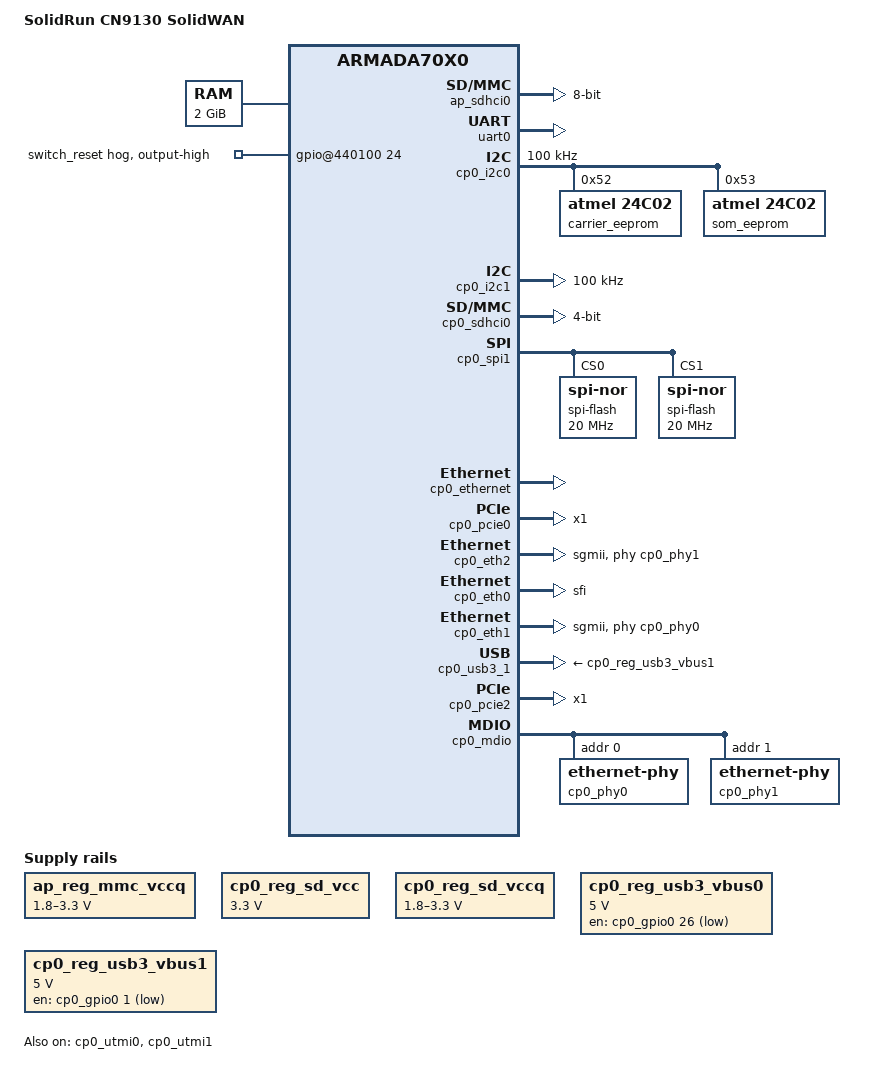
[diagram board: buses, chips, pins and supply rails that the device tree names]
/*
 * Copyright (C) 2020 SolidRun ltd.
 *
 * SPDX-License-Identifier:    GPL-2.0
 * https://spdx.org/licenses
 */

/* cn9130-cex7-A.dts */
#include "cn9130-som.dtsi"

/ {
	model = "SolidRun CN9130 SolidWAN";
	compatible = "marvell,cn9130-db", "marvell,cn91xx", "marvell,cn9030-vd",
				 "marvell,cn9030", "marvell,armada-ap806-quad",
				 "marvell,armada-ap806", "marvell,armada70x0";

	chosen {
		stdout-path = "serial0:115200n8";
	};

	aliases {
		i2c0 = &cp0_i2c0;
		i2c1 = &cp0_i2c1;
		spi0 = &cp0_spi1;
		gpio0 = &ap_gpio0;
		gpio1 = &cp0_gpio0;
		gpio2 = &cp0_gpio1;
	};

	memory@00000000 {
		device_type = "memory";
		reg = <0x0 0x0 0x0 0x80000000>;
	};

	cp0 {
		config-space {
			sdhci@780000 {
				vqmmc-supply = <&cp0_reg_sd_vccq>;
				vmmc-supply = <&cp0_reg_sd_vcc>;
			};

			ap_reg_mmc_vccq: ap_mmc_vccq@0 {
				compatible = "regulator-gpio";
				regulator-name = "ap_mmc_vccq";
				regulator-min-microvolt = <1800000>;
				regulator-max-microvolt = <3300000>;
				gpios = <&cp0_gpio0 26 GPIO_ACTIVE_HIGH>;
				states = <1800000 0x1
						  3300000 0x0>;
			};

			cp0_reg_sd_vcc: cp0_sd_vcc@0 {
				compatible = "regulator-fixed";
				regulator-name = "cp_sd_vcc";
				regulator-min-microvolt = <3300000>;
				regulator-max-microvolt = <3300000>;
				regulator-always-on;
				status = "okay";
			};
			cp0_reg_sd_vccq: cp0_sd_vccq@0 {
				compatible = "regulator-gpio";
				regulator-name = "cp0_sd_vccq";
				regulator-min-microvolt = <1800000>;
				regulator-max-microvolt = <3300000>;
				gpios = <&cp0_gpio1 26 GPIO_ACTIVE_HIGH>;
				enable-active-high;
				states = <1800000 0x1
							3300000 0x0>;
			};

			cp0_reg_usb3_vbus0: cp0_usb3_vbus@0 {
				compatible = "regulator-fixed";
				regulator-name = "cp0-xhci0-vbus";
				regulator-min-microvolt = <5000000>;
				regulator-max-microvolt = <5000000>;
				startup-delay-us = <100000>;
				regulator-force-boot-off;
				gpio = <&cp0_gpio0 26 GPIO_ACTIVE_HIGH>;
			};

			cp0_reg_usb3_vbus1: cp0_usb3_vbus@1 {
				compatible = "regulator-fixed";
				regulator-name = "cp0-xhci1-vbus";
				regulator-min-microvolt = <5000000>;
				regulator-max-microvolt = <5000000>;
				startup-delay-us = <100000>;
				regulator-force-boot-off;
				gpio = <&cp0_gpio0 1 GPIO_ACTIVE_HIGH>;
			};
		};
		gpio@440100 {
			p24 {
				gpio-hog;
				gpios = <24 GPIO_ACTIVE_HIGH>;
				output-high;
				line-name = "switch_reset";
			};
		};
	};
};


/***** AP related configuration *****/
&ap_pinctl {
	/* MPP Bus:
	 * SDIO  [0-10, 12]
	 * UART0 [11,19]
	 */
	/*			 0 1 2 3 4 5 6 7 8 9 */
	pin-func = < 1 1 1 1 1 1 1 1 1 1
				 1 3 1 0 0 0 0 0 0 3 >;
};


/* on-board eMMC */
&ap_sdhci0 {
	pinctrl-names = "default";
	pinctrl-0 = <&ap_emmc_pins>; /*defined in armada-ap80x.dtsi */
	vqmmc-supply = <&ap_reg_mmc_vccq>;
	bus-width = <8>;
	status = "okay";
};

&uart0 {
	status = "okay";
};
/*
&cp0_uart1 {
	status = "okay";
	pinctrl-names = "default";
	pinctrl-0 = <&cp0_uart1_pins>;
	u-boot,dm-pre-reloc;
};
*/

/****** CP related configuration  ******/

&cp0_pinctl {
	/* MPP Bus:
	*	[0-1] 	SMI MDC/MDIO
	*	[2-3]	UART1 TX/RX
	*	[4-5]	UART1 RTS/CTS
	*	[6-8]	PTP
	*	[10-11] GPIO - SPD Strap
	*	[12-16]	SPI1
	*	[17-26]	GPIO - Boot straps
	*	[27-34]	GPIO
	*	[35-36]	I2C1
	*	[37-38]	I2C1
	*	[39] 	GPIO
	*	[40] 	RCVR CLK
	*	[41]	GPIO VHV_EN
	*	[43]	SD CARD DT
	*	[44-55]	RGMII --> GPIOs
	*	[56-61]	SDIO
	*/
		   /*   0   1   2   3   4   5   6   7   8   9 */
	pin-func = <	10  10  8   8   6   6   0   0   0   0
			0   0   3   3   3   3   3   0   0   0
			0   0   0   0   0   0   0   0   0   0
			0   0   0   0   0   2   2   2   2   0
			0   0   0   0   0   0   0   0   0   0
			0   0   0   0   0   0  0xe 0xe 0xe 0xe
			0xe 0xe 0 >;
};

&cp0_i2c0 {
	pinctrl-names = "default";
	pinctrl-0 = <&cp0_i2c0_pins>;
	status = "okay";
	clock-frequency = <100000>;

	carrier_eeprom@52 {
		compatible = "atmel,24c02";
		reg = <0x52>;
		pagesize = <0x08>;
	};

	/* M24C02-WMN6TP */
	som_eeprom@53 {
		compatible = "atmel,24c02";
		reg = <0x53>;
		pagesize = <0x16>;
	};
};

&cp0_i2c1 {
	/* connected to SFP0*/
	status = "okay";
	pinctrl-names = "default";
	pinctrl-0 = <&cp0_i2c1_pins>;
	clock-frequency = <100000>;
};

/* SD CARD */
&cp0_sdhci0 {
	pinctrl-names = "default";
	pinctrl-0 = <&cp0_sdhci_pins>, <&cp0_sdhci_cd_pins>;
	bus-width = <4>;
	status = "okay";
	no-1-8-v;
};

/* SPI NOR  */
&cp0_spi1 {
	pinctrl-names = "default";
	pinctrl-0 = <&cp0_spi1_pins>, <&cp0_spi1_cs1_pins>;
	reg = <0x700680 0x50>,	/* control */
		  <0x2000000 0x1000000>,	/* CS0 */
		  <0x2000000 0x1000004>,	/* CS1 */
		  <0 0xffffffff>,			/* CS2 */
		  <0 0xffffffff>;			/* CS3 */
	status = "okay";

	spi-flash@0 {
		#address-cells = <0x1>;
		#size-cells = <0x1>;
		compatible = "jedec,spi-nor", "spi-flash";
		reg = <0x0>;
		/* On-board MUX does not allow higher frequencies */
		spi-max-frequency = <20000000>;
	};
	spi-flash@1 {
		#address-cells = <0x1>;
		#size-cells = <0x1>;
		compatible = "jedec,spi-nor";
		reg = <0x1>;
		/* On carrier MUX does not allow higher frequencies */
		spi-max-frequency = <20000000>;
	};

};

&cp0_comphy {
	phy0 {
		phy-type = <COMPHY_TYPE_PEX0>;
	};

	phy1 {
		phy-type = <COMPHY_TYPE_SGMII2>;
                phy-speed = <COMPHY_SPEED_1_25G>;
	};

	phy2 {
		phy-type = <COMPHY_TYPE_SFI0>;
		phy-speed = <COMPHY_SPEED_10_3125G>;
	};

	phy3 {
		phy-type = <COMPHY_TYPE_SGMII1>;
                phy-speed = <COMPHY_SPEED_1_25G>;
	};

	phy4 {
		phy-type = <COMPHY_TYPE_USB3_HOST1>;
	};

	phy5 {
		phy-type = <COMPHY_TYPE_PEX2>;
	};
};

&cp0_ethernet {
	status = "okay";
};

/* SRDS #0 - PCIe X1 Gen3 M.2 Slot */
&cp0_pcie0 {
	num-lanes = <1>;
	status = "okay";
//	pinctrl-0 = <&cp0_pci0_reset_pins>;
//	marvell,reset-gpio = <&cp0_gpio0 6 GPIO_ACTIVE_LOW>; //MPP6
};

/* SRDS #1 - 1GbE SGMII */
&cp0_eth2 {
	phy-mode = "sgmii";
	phy = <&cp0_phy1>;
	/*
	 * All Carrier PHYs share single reset line
	 * phy-reset-gpios = <&cp0_gpio1 7 GPIO_ACTIVE_LOW>; // MPP39
	 */
	 status = "okay";
};


/* SRDS #2 - 10GE SFP+ */
&cp0_eth0 {
	status = "okay";
	phy-mode = "sfi";
	compatible = "sff,sfp";
	i2c-bus = <&cp0_i2c1>;
	los-gpio = <&cp0_gpio1 2 GPIO_ACTIVE_HIGH>; //MPP34
	mod-def0-gpio = <&cp0_gpio1 0 GPIO_ACTIVE_LOW>; //MPP32
	tx-disable-gpio = <&cp0_gpio1 1 GPIO_ACTIVE_HIGH>; //MPP33
	tx-fault-gpio = <&cp0_gpio0 31 GPIO_ACTIVE_HIGH>; //MPP31
	maximum-power-milliwatt = <2000>;
};

/* SRDS #3 - 1GE PHY over SGMII */
&cp0_eth1 {
	phy = <&cp0_phy0>;
	phy-mode = "sgmii";
	/*
	 * All Carrier PHYs share single reset line
	 * phy-reset-gpios = <&cp0_gpio1 7 GPIO_ACTIVE_LOW>; // MPP39
	 */
	status = "okay";
};

/* SRDS #4 - USB 3.0 host on M.2 connector */
&cp0_usb3_1 {
	status = "okay";
	vbus-supply = <&cp0_reg_usb3_vbus1>;
};
&cp0_utmi0 {
	status = "okay";
};
&cp0_utmi1 {
	status = "okay";
};
/*
&cp0_usb3_0 {
	status = "okay";
	vbus-supply = <&cp0_reg_usb3_vbus0>;
};
*/

/* SRDS #5 - mini PCIE slot */
&cp0_pcie2 {
	num-lanes = <1>;
	status = "okay";
	// pinctrl-0 = <&cp0_pci2_reset_pins>;
	// marvell,reset-gpio = <&cp0_gpio0 8 GPIO_ACTIVE_LOW>; //MPP6
};

/* CP0 MDIO connected to local SOM 1Gbps phy and carrier 88E1512 phy */
&cp0_mdio {
	status = "okay";
	pinctrl-0 = <&cp0_mdio_pins>;

	cp0_phy0: ethernet-phy@0 {
		marvell,reg-init = <3 16 0 0x1017>;
		reg = <0>;
	};

	cp0_phy1: ethernet-phy@1 {
		marvell,reg-init = <3 16 0 0x1017>;
		reg = <1>;
	};
};

&cp0_pinctl {
	compatible = "marvell,mvebu-pinctrl", "marvell,armada-8k-cpm-pinctrl";
	bank-name ="cp0-110";

	cp0_i2c0_pins: cp0-i2c-pins-0 {
		marvell,pins = < 37 38 >;
		marvell,function = <2>;
	};

	cp0_i2c1_pins: cp0-i2c-pins-1 {
		marvell,pins = < 35 36 >;
		marvell,function = <2>;
	};

	cp0_sdhci_pins: cp0-sdhi-pins-0 {
		marvell,pins = < 56 57 58 59 60 61 >;
		marvell,function = <14>;
	};

	cp0_sdhci_cd_pins: cp0-sdhci-cd-pins-0 {
		marvell,pins = < 43 >;
		marvell,function = <1>;
	};

	cp0_spi1_pins: cp0-spi-pins-0 {
		marvell,pins = < 13 14 15 16 >;
		marvell,function = <3>;
	};

	cp0_spi1_cs1_pins: cp0-spi-cs1-pins-0 {
		marvell,pins = < 12 >;
		marvell,function = <3>;
	};

	cp0_mdio_pins: cp0-mdio-pins {
		marvell,pins = < 0 1 >;
		marvell,function = <10>;
	};

	cp0_pci0_reset_pins: pci0-reset-pins {
		marvell,pins = < 6 >;
		marvell,function = <0>;
	};

	cp0_pci2_reset_pins: pci2-reset-pins {
		marvell,pins = < 8 >;
		marvell,function = <0>;
	};

	cp0_uart1_pins: cp0-uart1-pins {
		marvell,pins = < 2 3 >;
		marvell,function = <8>;
	};
};
